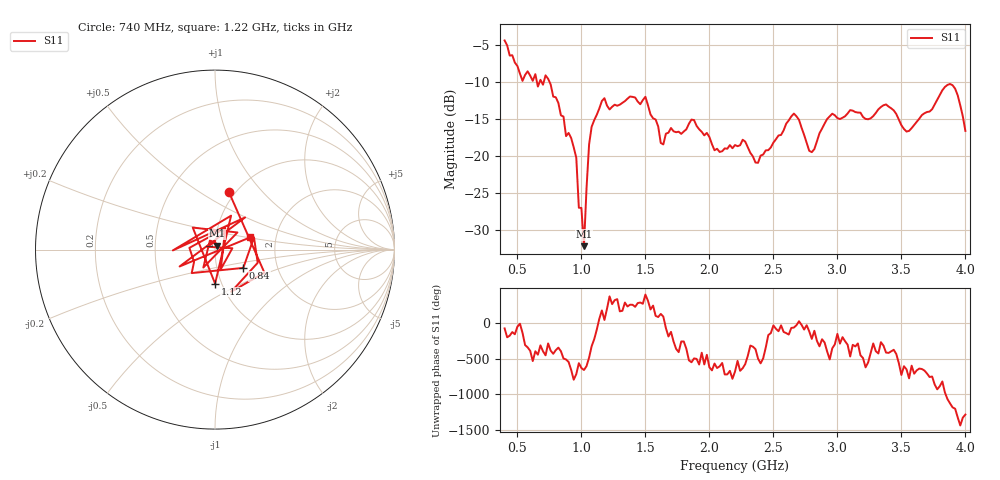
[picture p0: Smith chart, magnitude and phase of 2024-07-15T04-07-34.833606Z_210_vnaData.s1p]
!Created with skrf (http://scikit-rf.org).
# Hz S RI R 50.0
!freq ReS11 ImS11
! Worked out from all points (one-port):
!   181 points, 400 MHz to 4 GHz, reference 50 ohm
!   lowest |S11| = -32.2 dB at 1.02 GHz (marker M1), VSWR 1.05, Z = 51.1 + j2.22 ohm
!   |S11| at or under -10 dB: 652.6 MHz to 673.6 MHz (21.05 MHz wide, 3.17 % of centre); 688.8 MHz to 705.9 MHz (17.08 MHz wide, 2.45 % of centre); 751 MHz to end of sweep
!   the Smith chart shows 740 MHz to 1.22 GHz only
!   S11 on the Smith chart (normalised r, x): 740 MHz: 0.93, +0.68; 840 MHz: 1.34, -0.28; 1.12 GHz: 0.93, -0.37; 1.22 GHz: 1.47, +0.21
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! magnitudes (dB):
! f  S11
! 400 MHz  -4.4
! 540 MHz  -9.9
! 740 MHz  -9.6
! 840 MHz  -14.5
! 860 MHz  -14.7
! 960 MHz  -20.3
! 980 MHz  -27.0
! 1 GHz  -27.1
! 1.02 GHz  -32.2
! 1.06 GHz  -18.5
! 1.12 GHz  -14.4
! 1.22 GHz  -13.7
! 1.3 GHz  -13.1
! 1.5 GHz  -12.0
! 1.64 GHz  -18.5
! 1.76 GHz  -16.7
! 1.88 GHz  -15.2
! 2.04 GHz  -19.2
! 2.2 GHz  -18.5
! 2.38 GHz  -21.0
! 2.66 GHz  -14.3
! 2.8 GHz  -19.5
! 2.92 GHz  -15.0
! 3.1 GHz  -13.8
! 3.38 GHz  -13.0
! 3.56 GHz  -16.6
! 3.88 GHz  -10.3
! 4 GHz  -16.6
